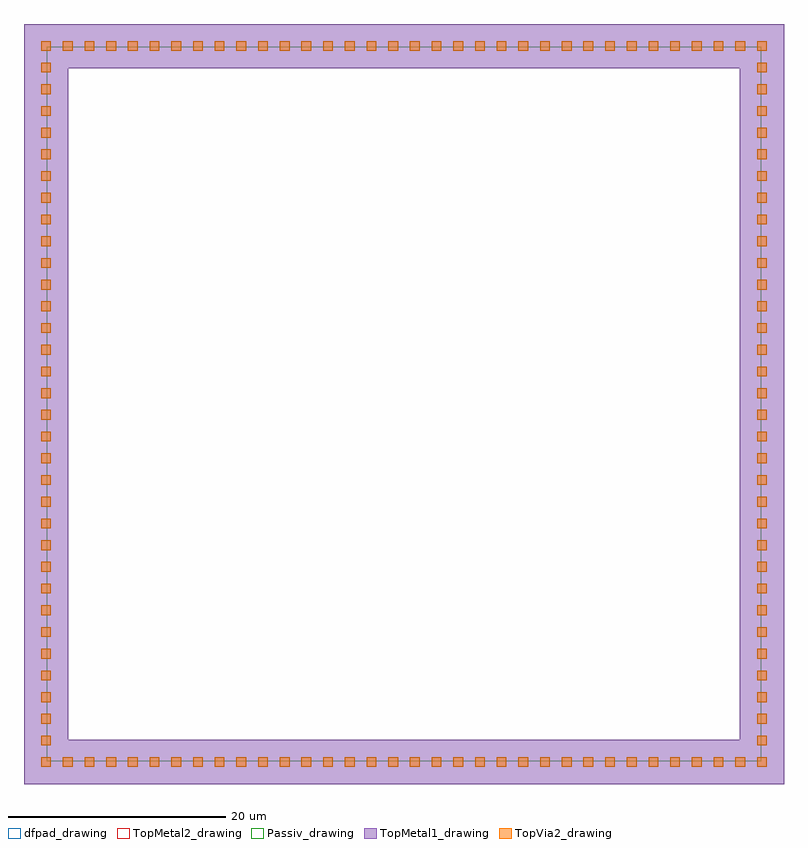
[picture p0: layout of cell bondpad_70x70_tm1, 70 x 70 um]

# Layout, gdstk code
import gdstk
lib = gdstk.Library(unit=1e-6, precision=1e-09)
def R(c, l, rs):  # rectangles x0, y0, x1, y1
    for r in rs: c.add(gdstk.rectangle(r[:2], r[2:], *l))
def A(c, l, x, y, w, h, nx, ny, dx, dy):  # array of equal rectangles
    R(c, l, [(x+i*dx, y+j*dy, x+i*dx+w, y+j*dy+h) for i in range(nx) for j in range(ny)])
def P(c, l, *ps):  # polygons
    for p in ps: c.add(gdstk.Polygon(p, *l))
Passiv_drawing = (9, 0)
dfpad_drawing = (41, 0)
TopMetal1_drawing = (126, 0)
TopVia2_drawing = (133, 0)
TopMetal2_drawing = (134, 0)

bondpad_70x70_tm1 = lib.new_cell('bondpad_70x70_tm1')
R(bondpad_70x70_tm1, Passiv_drawing, [(2.1,2.1,67.9,67.9)])
R(bondpad_70x70_tm1, dfpad_drawing, [(0,0,70,70)])
P(bondpad_70x70_tm1, TopMetal1_drawing, [(0,0),(4.07,4.07),(65.93,4.07),(65.93,65.93),(4.07,65.93),(4.07,4.07),(0,0),(0,70),(70,70),(70,0)])
A(bondpad_70x70_tm1, TopVia2_drawing, 11.57, 1.585, 0.9, 0.9, 3, 2, 2, 65.93)
A(bondpad_70x70_tm1, TopVia2_drawing, 25.555, 1.585, 0.9, 0.9, 3, 2, 2, 65.93)
A(bondpad_70x70_tm1, TopVia2_drawing, 39.54, 1.585, 0.9, 0.9, 3, 2, 2, 65.93)
A(bondpad_70x70_tm1, TopVia2_drawing, 53.525, 1.585, 0.9, 0.9, 3, 2, 2, 65.93)
A(bondpad_70x70_tm1, TopVia2_drawing, 63.515, 1.585, 0.9, 0.9, 3, 2, 2, 65.93)
A(bondpad_70x70_tm1, TopVia2_drawing, 1.585, 5.55, 0.9, 0.9, 1, 15, 0, 2)
A(bondpad_70x70_tm1, TopVia2_drawing, 67.515, 5.55, 0.9, 0.9, 1, 15, 0, 2)
A(bondpad_70x70_tm1, TopVia2_drawing, 1.585, 35.545, 0.9, 0.9, 1, 16, 0, 2)
A(bondpad_70x70_tm1, TopVia2_drawing, 67.515, 35.545, 0.9, 0.9, 1, 16, 0, 2)
R(bondpad_70x70_tm1, TopVia2_drawing, [(1.585,1.585,2.485,2.485), (3.58,1.585,4.48,2.485), (5.58,1.585,6.48,2.485), (7.575,1.585,8.475,2.485), (9.575,1.585,10.475,2.485), (17.565,1.585,18.465,2.485), (19.565,1.585,20.465,2.485), (21.56,1.585,22.46,2.485), (23.56,1.585,24.46,2.485), (31.55,1.585,32.45,2.485), (33.55,1.585,34.45,2.485), (35.545,1.585,36.445,2.485), (37.545,1.585,38.445,2.485), (45.535,1.585,46.435,2.485), (47.535,1.585,48.435,2.485), (49.53,1.585,50.43,2.485), (51.53,1.585,52.43,2.485), (59.52,1.585,60.42,2.485), (61.52,1.585,62.42,2.485), (1.585,3.555,2.485,4.455), (67.515,3.555,68.415,4.455), (1.585,67.515,2.485,68.415), (3.58,67.515,4.48,68.415), (5.58,67.515,6.48,68.415), (7.575,67.515,8.475,68.415), (9.575,67.515,10.475,68.415), (17.565,67.515,18.465,68.415), (19.565,67.515,20.465,68.415), (21.56,67.515,22.46,68.415), (23.56,67.515,24.46,68.415), (31.55,67.515,32.45,68.415), (33.55,67.515,34.45,68.415), (35.545,67.515,36.445,68.415), (37.545,67.515,38.445,68.415), (45.535,67.515,46.435,68.415), (47.535,67.515,48.435,68.415), (49.53,67.515,50.43,68.415), (51.53,67.515,52.43,68.415), (59.52,67.515,60.42,68.415), (61.52,67.515,62.42,68.415)])
R(bondpad_70x70_tm1, TopMetal2_drawing, [(0,0,70,70)])

lib.write_gds('bondpad_70x70_tm1.gds')
